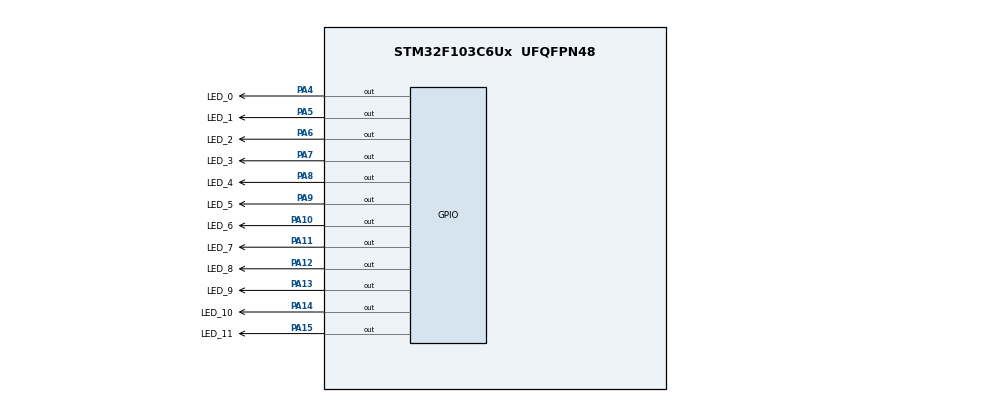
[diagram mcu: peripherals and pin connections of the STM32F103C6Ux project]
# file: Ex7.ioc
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Mcu.Family=STM32F1
Mcu.Name=STM32F103C6Ux
Mcu.Package=UFQFPN48
NVIC.PriorityGroup=NVIC_PRIORITYGROUP_4
PA10.GPIO_Label=LED_6
PA10.Signal=GPIO_Output
PA11.GPIO_Label=LED_7
PA11.Signal=GPIO_Output
PA12.GPIO_Label=LED_8
PA12.Signal=GPIO_Output
PA13.GPIO_Label=LED_9
PA13.Signal=GPIO_Output
PA14.GPIO_Label=LED_10
PA14.Signal=GPIO_Output
PA15.GPIO_Label=LED_11
PA15.Signal=GPIO_Output
PA4.GPIO_Label=LED_0
PA4.Signal=GPIO_Output
PA5.GPIO_Label=LED_1
PA5.Signal=GPIO_Output
PA6.GPIO_Label=LED_2
PA6.Signal=GPIO_Output
PA7.GPIO_Label=LED_3
PA7.Signal=GPIO_Output
PA8.GPIO_Label=LED_4
PA8.Signal=GPIO_Output
PA9.GPIO_Label=LED_5
PA9.Signal=GPIO_Output
ProjectManager.HeapSize=0x200
ProjectManager.StackSize=0x400
ProjectManager.TargetToolchain=STM32CubeIDE
RCC.APB1Freq_Value=8000000
RCC.APB2Freq_Value=8000000
VP_SYS_VS_ND.Mode=No_Debug
board=custom

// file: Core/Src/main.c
/* USER CODE BEGIN Header */
/**
  ******************************************************************************
  * @file           : main.c
  * @brief          : Main program body
  ******************************************************************************
  * @attention
  *
  * <h2><center>&copy; Copyright (c) 2025 STMicroelectronics.
  * All rights reserved.</center></h2>
  *
  * This software component is licensed by ST under BSD 3-Clause license,
  * the "License"; You may not use this file except in compliance with the
  * License. You may obtain a copy of the License at:
  *                        opensource.org/licenses/BSD-3-Clause
  *
  ******************************************************************************
  */
/* USER CODE END Header */
#include "main.h"

/* USER CODE BEGIN PV */
static GPIO_TypeDef* LED_PORTS[12] = {
		LED_0_GPIO_Port, LED_1_GPIO_Port, LED_2_GPIO_Port, LED_3_GPIO_Port,
		LED_4_GPIO_Port, LED_5_GPIO_Port, LED_6_GPIO_Port, LED_7_GPIO_Port,
		LED_8_GPIO_Port, LED_9_GPIO_Port, LED_10_GPIO_Port, LED_11_GPIO_Port
};
static uint16_t LED_PINS[12] = {
		LED_0_Pin, LED_1_Pin, LED_2_Pin, LED_3_Pin,
		LED_4_Pin, LED_5_Pin, LED_6_Pin, LED_7_Pin,
		LED_8_Pin, LED_9_Pin, LED_10_Pin, LED_11_Pin
};
/* USER CODE END PV */

void SystemClock_Config(void);
static void MX_GPIO_Init(void);
/* USER CODE BEGIN PFP */
void  clearAllClock(void);

/* USER CODE END PFP */

int main(void)
{

  /* MCU Configuration--------------------------------------------------------*/

  /* Reset of all peripherals, Initializes the Flash interface and the Systick. */
  HAL_Init();

  /* Configure the system clock */
  SystemClock_Config();

  /* Initialize all configured peripherals */
  MX_GPIO_Init();

  /* Infinite loop */
  /* USER CODE BEGIN WHILE */
  int idx = 0;
  while (1)
  {
    /* USER CODE END WHILE */
	  if (idx >= 12)
	  {
		  HAL_Delay(3000);
		  clearAllClock();
	  }
	  HAL_GPIO_WritePin(LED_PORTS[idx], LED_PINS[idx], RESET);
	  idx++;

  }
}

void SystemClock_Config(void)
{
  RCC_OscInitTypeDef RCC_OscInitStruct = {0};
  RCC_ClkInitTypeDef RCC_ClkInitStruct = {0};

  /** Initializes the RCC Oscillators according to the specified parameters
  * in the RCC_OscInitTypeDef structure.
  */
  RCC_OscInitStruct.OscillatorType = RCC_OSCILLATORTYPE_HSI;
  RCC_OscInitStruct.HSIState = RCC_HSI_ON;
  RCC_OscInitStruct.HSICalibrationValue = RCC_HSICALIBRATION_DEFAULT;
  RCC_OscInitStruct.PLL.PLLState = RCC_PLL_NONE;
  if (HAL_RCC_OscConfig(&RCC_OscInitStruct) != HAL_OK)
  {
    Error_Handler();
  }
  /** Initializes the CPU, AHB and APB buses clocks
  */
  RCC_ClkInitStruct.ClockType = RCC_CLOCKTYPE_HCLK|RCC_CLOCKTYPE_SYSCLK
                              |RCC_CLOCKTYPE_PCLK1|RCC_CLOCKTYPE_PCLK2;
  RCC_ClkInitStruct.SYSCLKSource = RCC_SYSCLKSOURCE_HSI;
  RCC_ClkInitStruct.AHBCLKDivider = RCC_SYSCLK_DIV1;
  RCC_ClkInitStruct.APB1CLKDivider = RCC_HCLK_DIV1;
  RCC_ClkInitStruct.APB2CLKDivider = RCC_HCLK_DIV1;

  if (HAL_RCC_ClockConfig(&RCC_ClkInitStruct, FLASH_LATENCY_0) != HAL_OK)
  {
    Error_Handler();
  }
}

static void MX_GPIO_Init(void)
{
  GPIO_InitTypeDef GPIO_InitStruct = {0};

  /* GPIO Ports Clock Enable */
  __HAL_RCC_GPIOA_CLK_ENABLE();

  /*Configure GPIO pin Output Level */
  HAL_GPIO_WritePin(GPIOA, LED_0_Pin|LED_1_Pin|LED_2_Pin|LED_3_Pin
                          |LED_4_Pin|LED_5_Pin|LED_6_Pin|LED_7_Pin
                          |LED_8_Pin|LED_9_Pin|LED_10_Pin|LED_11_Pin, GPIO_PIN_RESET);

  /*Configure GPIO pins : LED_0_Pin LED_1_Pin LED_2_Pin LED_3_Pin
                           LED_4_Pin LED_5_Pin LED_6_Pin LED_7_Pin
                           LED_8_Pin LED_9_Pin LED_10_Pin LED_11_Pin */
  GPIO_InitStruct.Pin = LED_0_Pin|LED_1_Pin|LED_2_Pin|LED_3_Pin
                          |LED_4_Pin|LED_5_Pin|LED_6_Pin|LED_7_Pin
                          |LED_8_Pin|LED_9_Pin|LED_10_Pin|LED_11_Pin;
  GPIO_InitStruct.Mode = GPIO_MODE_OUTPUT_PP;
  GPIO_InitStruct.Pull = GPIO_NOPULL;
  GPIO_InitStruct.Speed = GPIO_SPEED_FREQ_LOW;
  HAL_GPIO_Init(GPIOA, &GPIO_InitStruct);

}

/* USER CODE BEGIN 4 */
void clearAllClock() {
	 for (int i = 0; i < 12; i++)
	 {
		 HAL_GPIO_WritePin(LED_PORTS[i], LED_PINS[i], SET);
	 }
}
/* USER CODE END 4 */

void Error_Handler(void)
{
  __disable_irq();
  while (1)
  {
  }
}

/************************ (C) COPYRIGHT STMicroelectronics *****END OF FILE****/
